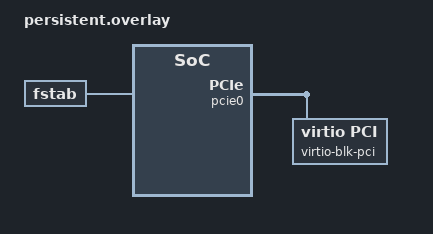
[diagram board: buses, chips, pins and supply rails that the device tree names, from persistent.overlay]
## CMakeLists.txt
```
cmake_minimum_required(VERSION 3.20.0)

if(NOT CHIP_ROOT)
    if(DEFINED ENV{CHIP_ROOT})
        set(CHIP_ROOT $ENV{CHIP_ROOT})
    else()
        get_filename_component(CHIP_ROOT ${CMAKE_CURRENT_SOURCE_DIR}/../../connectedhomeip-worktree-zephyr REALPATH)
    endif()
endif()

# CONFIG_CHIP isn't known yet (Kconfig hasn't run) -- chip-module/CMakeLists.txt
# itself gates everything on CONFIG_CHIP, so it's harmless to always add it.
list(APPEND ZEPHYR_EXTRA_MODULES ${CHIP_ROOT}/config/zephyr/chip-module)

find_package(Zephyr HINTS $ENV{ZEPHYR_BASE})
project(matter_zephyr_qemu)

get_filename_component(GEN_DIR ${CHIP_ROOT}/zzz_generated/ REALPATH)
include(${CHIP_ROOT}/src/app/chip_data_model.cmake)

target_include_directories(app PRIVATE
    include
    ${GEN_DIR}/app-common
    ${GEN_DIR}/lighting-app
)

target_sources(app PRIVATE
    src/main.cpp
    src/AppTask.cpp
    src/LightingManager.cpp
    src/ZclCallbacks.cpp
)

# Opt-in LVGL bulb UI (see app/lvgl.conf) -- reflects on/off + level state
# in a QEMU window instead of just the console.
if(CONFIG_LVGL)
    target_sources(app PRIVATE src/gui/BulbUi.cpp)
endif()

# Opt-in LLEXT loadable-extension support (see app/llext.conf) -- see
# plan/plan-detailed.md Milestone 3.
if(CONFIG_LLEXT)
    target_sources(app PRIVATE src/llext/ExtensionLoaderCluster.cpp)
endif()

chip_configure_data_model(app
    ZAP_FILE ${CHIP_ROOT}/examples/lighting-app/lighting-common/lighting-app.zap
)
```

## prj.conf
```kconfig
# M1 step 2: bare boot + networking smoke test.
CONFIG_NETWORKING=y
CONFIG_NET_L2_ETHERNET=y
CONFIG_NET_IPV4=y
CONFIG_NET_IPV6=y
CONFIG_NET_DHCPV4=y
CONFIG_NET_IPV6_MLD=y

CONFIG_SHELL=y
CONFIG_NET_SHELL=y

CONFIG_LOG=y

# M1 step 3: CHIP library build (no data model / Server init yet -- just
# prove the chip-module GN build works for qemu_x86).
CONFIG_CHIP=y
CONFIG_CHIP_ETHERNET=y
CONFIG_CHIP_LIB_SHELL=n
CONFIG_STD_CPP17=y
CONFIG_POSIX_API=y
# mbedTLS 4.x (this Zephyr's default) removed the classic headers CHIP's
# direct-mbedtls crypto backend expects (mbedtls/bignum.h etc are gone/moved
# into tf-psa-crypto internals). Use CHIP's PSA-based crypto backend instead.
CONFIG_PSA_CRYPTO=y
CONFIG_MBEDTLS=y
CONFIG_CHIP_CRYPTO_PSA=y
# SPAKE2+ specifically: mbedTLS 4.x has no PSA_ALG_SPAKE2P_MATTER support
# (upstream mbedtls#9378/#9381, unresolved 2+ years), so PSASpake2p.cpp
# (chip_crypto_spake2p="psa") fails to link. CHIPCryptoPALPSA.cpp already
# contains a complete classic SPAKE2+ implementation against mbedTLS's
# private ecp.h/bignum.h, gated behind this exact Kconfig -- no new source
# file needed, just don't select the (broken) PSA-native pake variant.
CONFIG_CHIP_CRYPTO_SPAKE2P_MBEDTLS=y

# No Thread/BLE/Wi-Fi for this port.
CONFIG_NET_L2_OPENTHREAD=n
CONFIG_OPENTHREAD=n
CONFIG_BT=n
CONFIG_CHIP_WIFI=n

# M1 step 4: data model + commissioning + on/off/level.
CONFIG_CHIP_PROJECT_CONFIG="include/CHIPProjectConfig.h"
CONFIG_CHIP_ENABLE_PAIRING_AUTOSTART=y

# Storage: NVS on the board's existing storage partition (sim_flash-backed --
# lost across QEMU restarts, acceptable for M1; see plan risks).
CONFIG_FLASH=y
CONFIG_FLASH_MAP=y
CONFIG_NVS=y
CONFIG_SETTINGS=y
CONFIG_SETTINGS_NVS=y

# Entropy: prototype only, not a real HWRNG.
CONFIG_TEST_RANDOM_GENERATOR=y

# Memory. We have 32MB of board RAM to spare; be generous with both.
CONFIG_CHIP_MALLOC_SYS_HEAP=y
CONFIG_CHIP_MALLOC_SYS_HEAP_SIZE=131072
CONFIG_MAIN_STACK_SIZE=32768
# Zephyr's OWN separate malloc arena (lib/libc/common/.../malloc.c) crashed in
# its own SYS_INIT hook (malloc_prepare) -- and it's dead weight for us anyway,
# since CHIP_MALLOC_SYS_HEAP_OVERRIDE wraps malloc/calloc/realloc/free to route
# through its own heap instead. Disabled outright; see plan-detailed.md.
CONFIG_COMMON_LIBC_MALLOC=n

# Logging: default 1KB deferred-log ring buffer overflows constantly under
# CHIP's verbose debug-level logging (commissioning especially), silently
# dropping messages. We have RAM to spare.
CONFIG_LOG_BUFFER_SIZE=16384
```

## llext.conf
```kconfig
# Opt-in: Zephyr LLEXT (Linkable Loadable Extensions) support -- lets the
# device load and run a small binary extension at runtime. See Milestone 3
# in plan/plan-detailed.md.
#
# Build with:
#   west build ... -- -DEXTRA_CONF_FILE="persistent.conf;llext.conf" \
#                      -DEXTRA_DTC_OVERLAY_FILE=persistent.overlay
#
# CONFIG_LLEXT_IMPORT_ALL_GLOBALS avoids needing a precise EXPORT_SYMBOL
# table while x86 LLEXT itself is unproven on this board (zero existing
# samples target qemu_x86/x86 upstream) -- can be tightened later.
#
# NOTE: CONFIG_LLEXT_SHELL was tried for the Phase 0 smoke test (`llext
# load_hex`) but subsys/llext/shell.c calls plain libc aligned_alloc()/free(),
# which aren't covered by our --wrap=malloc interception and need picolibc's
# real sbrk()-based heap -- which needs __heap_start/__heap_end, which aren't
# defined because CONFIG_COMMON_LIBC_MALLOC=n (see prj.conf; disabled for an
# unrelated M1 crash). Rather than re-litigate that, Phase 0's smoke test
# calls llext_load() directly from C instead of via the shell.
CONFIG_LLEXT=y
CONFIG_LLEXT_STORAGE_WRITABLE=y
CONFIG_LLEXT_HEAP_SIZE=128
CONFIG_LLEXT_IMPORT_ALL_GLOBALS=y
```

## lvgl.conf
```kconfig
# Opt-in: LVGL bulb UI (src/gui/BulbUi.cpp) reflecting Matter's on/off +
# level state, rendered via QEMU's ramfb framebuffer device. No devicetree
# overlay needed -- qemu_x86's board .dts already has the ramfb0 node
# (chosen as zephyr,display) enabled unconditionally.
#
# Build with:
#   west build ... -- -DEXTRA_CONF_FILE="persistent.conf;lvgl.conf" \
#                      -DEXTRA_DTC_OVERLAY_FILE=persistent.overlay
#
# scripts/run-qemu-macos.sh auto-detects CONFIG_DISPLAY in the build's
# .config and opens a QEMU window instead of running headless.

CONFIG_DISPLAY=y
CONFIG_LVGL=y
CONFIG_LV_Z_MEM_POOL_SIZE=32768
CONFIG_LV_USE_LABEL=y
CONFIG_LV_USE_ARC=y
CONFIG_LV_FONT_MONTSERRAT_14=y
```

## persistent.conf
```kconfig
# Opt-in: persistent NVS/Settings storage across QEMU restarts, via a
# virtio-blk disk (backed by a real host disk image file, see
# scripts/run-qemu-macos.sh --persistent), formatted FAT and auto-mounted via
# devicetree fstab (persistent.overlay), with CHIP's Settings using
# CONFIG_SETTINGS_FILE instead of the default (ephemeral, RAM-backed
# flash-simulator) NVS backend.
#
# Build with:
#   west build ... -- -DEXTRA_CONF_FILE=persistent.conf \
#                      -DEXTRA_DTC_OVERLAY_FILE=persistent.overlay

CONFIG_DISK_ACCESS=y
CONFIG_DISK_DRIVERS=y
CONFIG_DISK_DRIVER_VIRTIO_BLK=y

CONFIG_FILE_SYSTEM=y
CONFIG_FILE_SYSTEM_MKFS=y
CONFIG_FAT_FILESYSTEM_ELM=y
CONFIG_FS_FATFS_FSTAB_AUTOMOUNT=y

# Switch Settings from NVS-on-simulated-flash (prj.conf default) to a file on
# the now-mounted, disk-backed FAT volume.
CONFIG_SETTINGS_NVS=n
CONFIG_SETTINGS_FILE=y
CONFIG_SETTINGS_FILE_PATH="/SD:/settings/run"
```

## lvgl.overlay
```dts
/*
 * Opt-in overlay for app/lvgl.conf. Build with:
 *
 *   west build ... -- -DEXTRA_CONF_FILE="persistent.conf;lvgl.conf" \
 *                      -DEXTRA_DTC_OVERLAY_FILE="persistent.overlay;lvgl.overlay"
 *
 * qemu_x86's board .dts declares the ramfb framebuffer as a `reserved-memory`
 * sub-region (`no-map`) at the TOP 4 MiB of the 32 MiB `dram0` node (0x1c00000-
 * 0x2000000) -- but `dram0` itself (the `zephyr,sram` chosen node, which
 * drives the linker's usable-RAM region) still declares the FULL 32 MiB.
 * `reserved-memory`/`no-map` only affects MMU/page-attribute handling for
 * that range; it does NOT shrink the linker's RAM region. So without this
 * override, the linker is free to place ordinary kernel data (net buffers,
 * heaps, thread stacks, ...) inside the very same physical bytes the ramfb
 * driver treats as its own exclusive raw framebuffer -- silently corrupting
 * whatever lands there. Confirmed the hard way: with CONFIG_DISPLAY=y alone
 * (no LVGL, no extra threads at all), CASE/PASE unicast UDP delivery broke
 * completely (mDNS multicast discovery still worked fine, masking this for a
 * while) while build-persistent (CONFIG_DISPLAY unset) was unaffected.
 * Shrinking dram0 to the bottom 28 MiB -- ending exactly where the reserved
 * region begins -- keeps the linker out of that range entirely.
 */

#include <mem.h>

&dram0 {
	reg = <0x0 DT_SIZE_M(28)>;
};
```

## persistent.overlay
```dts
/*
 * Opt-in overlay: attach a virtio-blk disk (see persistent.conf) and
 * auto-mount it FAT via devicetree fstab, so CHIP's Settings storage
 * survives QEMU restarts instead of living in the (RAM-backed, ephemeral)
 * flash simulator. Build with:
 *
 *   west build ... -- -DEXTRA_CONF_FILE=persistent.conf \
 *                      -DEXTRA_DTC_OVERLAY_FILE=persistent.overlay
 *
 * and run via scripts/run-qemu-macos.sh --persistent, which attaches the
 * matching QEMU -drive/-device pair backed by a real host disk image file.
 */

#include <zephyr/dt-bindings/pcie/pcie.h>

/ {
	pcie0 {
		virtio-blk-pci {
			compatible = "virtio,pci";
			vendor-id = <0x1af4>;
			device-id = <0x1001>;
			/* IRQ 11 (e1000's line) is full; take over IRQ 10, freed by
			 * disabling virtio_input_pci below. */
			interrupts = <0xa 0x0 0x0>;
			interrupt-parent = <&intc>;
			status = "okay";

			virtio_blk: virtio-blk {
				compatible = "virtio,blk";
				disk-name = "SD";
				status = "okay";
			};
		};
	};

	fstab {
		compatible = "zephyr,fstab";

		persist: persist {
			compatible = "zephyr,fstab,fatfs";
			automount;
			disk-access;
			mount-point = "/SD:";
		};
	};
};

/* Frees up IRQ 11, which the board's default virtio-input device also wants
 * (unused for M1 anyway -- no LVGL/touch input yet). */
&virtio_input_pci {
	status = "disabled";
};
```

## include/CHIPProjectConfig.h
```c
#pragma once

// Use a default pairing code if one hasn't been provisioned in flash.
#define CHIP_DEVICE_CONFIG_USE_TEST_SETUP_PIN_CODE 20202021
#define CHIP_DEVICE_CONFIG_USE_TEST_SETUP_DISCRIMINATOR 0xF00

// Exchange Manager / Secure Channel / interaction-model (DMG) logging is
// extremely chatty at Progress/Detail (every message send/receive, every
// attribute read) and drowns out ZCL's own logging in the 16KB ring buffer.
// Keep Error-level diagnostics from all three; drop Progress/Detail. ZCL
// (and everything else) is left at the global log filter.
#define CHIP_CONFIG_LOG_MODULE_ExchangeManager_PROGRESS 0
#define CHIP_CONFIG_LOG_MODULE_ExchangeManager_DETAIL 0
#define CHIP_CONFIG_LOG_MODULE_SecureChannel_PROGRESS 0
#define CHIP_CONFIG_LOG_MODULE_SecureChannel_DETAIL 0
#define CHIP_CONFIG_LOG_MODULE_DataManagement_PROGRESS 0
#define CHIP_CONFIG_LOG_MODULE_DataManagement_DETAIL 0
```

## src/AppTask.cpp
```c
#include "AppTask.h"
#include "EthernetNetworkCommissioningDriver.h"

#include <app/TestEventTriggerDelegate.h>
#include <app/clusters/network-commissioning/network-commissioning.h>
#include <app/server/Server.h>
#include <credentials/examples/DeviceAttestationCredsExample.h>
#include <app/server-cluster/ServerClusterInterfaceRegistry.h>
#include <data-model-providers/codegen/CodegenDataModelProvider.h>
#include <data-model-providers/codegen/Instance.h>
#include <DeviceInfoProviderImpl.h>
#include <lib/support/CHIPMem.h>
#include <lib/support/logging/CHIPLogging.h>
#include <platform/CHIPDeviceLayer.h>
#include <setup_payload/OnboardingCodesUtil.h>

#if defined(CONFIG_LVGL)
#include "gui/BulbUi.h"
#endif

#if defined(CONFIG_LLEXT)
#include "llext/ExtensionLoaderCluster.h"
#endif

using namespace chip;
using namespace chip::app;
using namespace chip::Credentials;
using namespace chip::DeviceLayer;

namespace {
// Not function-local statics with no dependency on the CHIP/kernel stack being
// up yet -- safe to construct at global static-init time.
DeviceLayer::NetworkCommissioning::QemuEthernetDriver sEthernetDriver;
uint8_t sTestEventTriggerEnableKey[TestEventTriggerDelegate::kEnableKeyLength] = { 0 };
} // namespace

CHIP_ERROR AppTask::Init()
{
    ReturnErrorOnFailure(Platform::MemoryInit());
    ReturnErrorOnFailure(PlatformMgr().InitChipStack());

    SetDeviceAttestationCredentialsProvider(Examples::GetExampleDACProvider());

    // Function-local statics: their constructors call into Server::GetInstance()
    // et al (e.g. NetworkCommissioning::Instance's Context member initializer),
    // which must not run before InitChipStack() above -- as global (namespace-
    // scope) statics they'd construct before main() / the kernel is fully up,
    // corrupting memory (observed as a garbage-EIP crash in the idle thread).
    static CommonCaseDeviceServerInitParams sInitParams;
    static SimpleTestEventTriggerDelegate sTestEventTriggerDelegate;
    static Clusters::NetworkCommissioning::Instance sEthernetCommissioningInstance(0 /* endpoint */, &sEthernetDriver);

    ReturnErrorOnFailure(sInitParams.InitializeStaticResourcesBeforeServerInit());

    // Required by clusters that ship with our data model (e.g. User Label on
    // EP0) -- CreateRegistration() VerifyOrDie()s on this being non-null.
    static DeviceInfoProviderImpl sDeviceInfoProvider;
    sDeviceInfoProvider.SetStorageDelegate(sInitParams.persistentStorageDelegate);
    SetDeviceInfoProvider(&sDeviceInfoProvider);

    ReturnErrorOnFailure(sTestEventTriggerDelegate.Init(ByteSpan(sTestEventTriggerEnableKey)));
    sInitParams.testEventTriggerDelegate = &sTestEventTriggerDelegate;
    sInitParams.dataModelProvider        = CodegenDataModelProviderInstance(sInitParams.persistentStorageDelegate);

    ReturnErrorOnFailure(sEthernetCommissioningInstance.Init());

    ReturnErrorOnFailure(Server::GetInstance().Init(sInitParams));

    ConfigurationMgr().LogDeviceConfig();
    PrintOnboardingCodes(RendezvousInformationFlags(RendezvousInformationFlag::kOnNetwork));

#if defined(CONFIG_LVGL)
    BulbUi::Init();
#endif

#if defined(CONFIG_LLEXT)
    {
        static RegisteredServerCluster<ExtensionLoaderCluster> sExtensionLoaderCluster;
        ReturnErrorOnFailure(CodegenDataModelProvider::Instance().Registry().Register(sExtensionLoaderCluster.Registration()));
    }
#endif

    return CHIP_NO_ERROR;
}

void AppTask::StartApp()
{
    PlatformMgr().RunEventLoop();
}
```

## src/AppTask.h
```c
#pragma once

#include <lib/core/CHIPError.h>

class AppTask
{
public:
    static AppTask & Instance()
    {
        static AppTask instance;
        return instance;
    }

    CHIP_ERROR Init();
    void StartApp();
};
```

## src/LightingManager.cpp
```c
#include "LightingManager.h"

#include <lib/support/logging/CHIPLogging.h>

#if defined(CONFIG_LVGL)
#include "gui/BulbUi.h"
#endif

void LightingManager::Set(bool onOff)
{
    mOnOff = onOff;
    ChipLogProgress(NotSpecified, "BULB: %s level=%u", mOnOff ? "ON" : "OFF", mLevel);
#if defined(CONFIG_LVGL)
    BulbUi::SetState(mOnOff, mLevel);
#endif
}

void LightingManager::SetLevel(uint8_t level)
{
    mLevel = level;
    ChipLogProgress(NotSpecified, "BULB: %s level=%u", mOnOff ? "ON" : "OFF", mLevel);
#if defined(CONFIG_LVGL)
    BulbUi::SetState(mOnOff, mLevel);
#endif
}
```
